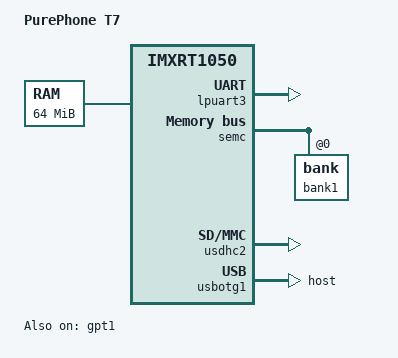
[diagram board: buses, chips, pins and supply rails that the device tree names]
// Copyright (c) 2017-2022, Mudita Sp. z.o.o. All rights reserved.
// For licensing, see https://github.com/mudita/MuditaOS/LICENSE.md

/dts-v1/;
#include "purephone-t7.dtsi"
#include "purephone-t7-u-boot.dtsi"
#include "imxrt1050-pinfunc.h"

/ {
	model = "PurePhone T7";
	compatible = "fsl,purephone-t7", "fsl,imxrt1050";

	chosen {
		bootargs = "root=/dev/ram";
		stdout-path = "serial0:115200n8";
		tick-timer = &gpt1;
	};

	memory {
		device_type = "memory";
		reg = <0x80000000 0x4000000>;
	};
};


&lpuart3 { /* console */
	pinctrl-names = "default";
	pinctrl-0 = <&pinctrl_lpuart3>;
	status = "okay";
};

&semc {
	fsl,sdram-mux = /bits/ 8 <MUX_A8_SDRAM_A8
				MUX_CSX0_SDRAM_CS1
				0
				0
				0
				0>;
	fsl,sdram-control = /bits/ 8 <MEM_WIDTH_16BITS
					BL_8
					COL_10BITS
					CL_3>;
	fsl,sdram-timing = /bits/ 8 <0x02 // PRE2ACT
				     0x02 //ACT2RW
				     0x0D //RFRC
				     0x02 //WRC
				     0x07 //CKEOFF
				     0x07 //ACT2PRE

				     0x0D //SRRC
				     0x0B //REF2REF
				     0x0A //ACT2ACT
				     0x0 //ITO

				     0x00 //REBL
				     0x08 //PRESCALE
                     0x09 //RT
                     0x09>; //UT

	bank1: bank@0 {
		fsl,base-address = <0x80000000>;
		fsl,memory-size = <MEM_SIZE_64M>;
	};
};

&iomuxc {
	pinctrl-names = "default";
	pinctrl-0 = <&pinctrl_lpuart3>;

	purephone-t7 {
		pinctrl_lpuart3: lpuart3grp {
			fsl,pins = <
				MXRT1050_IOMUXC_GPIO_AD_B1_06_LPUART3_TXD
					0xf1
				MXRT1050_IOMUXC_GPIO_AD_B1_07_LPUART3_RXD
					0xf1
			>;
		};

		pinctrl_semc: semcgrp {
			fsl,pins = <
				MXRT1050_IOMUXC_GPIO_EMC_00_SEMC_DA00
                    0x0110F9	/* SEMC_D0 */
				MXRT1050_IOMUXC_GPIO_EMC_01_SEMC_DA01
                    0x0110F9	/* SEMC_D1 */
				MXRT1050_IOMUXC_GPIO_EMC_02_SEMC_DA02
                    0x0110F9	/* SEMC_D2 */
				MXRT1050_IOMUXC_GPIO_EMC_03_SEMC_DA03
                    0x0110F9	/* SEMC_D3 */
				MXRT1050_IOMUXC_GPIO_EMC_04_SEMC_DA04
                    0x0110F9	/* SEMC_D4 */
				MXRT1050_IOMUXC_GPIO_EMC_05_SEMC_DA05
                    0x0110F9	/* SEMC_D5 */
				MXRT1050_IOMUXC_GPIO_EMC_06_SEMC_DA06
                    0x0110F9	/* SEMC_D6 */
				MXRT1050_IOMUXC_GPIO_EMC_07_SEMC_DA07
                    0x0110F9	/* SEMC_D7 */
				MXRT1050_IOMUXC_GPIO_EMC_08_SEMC_DM00
                    0x0110F9	/* SEMC_DM0 */
				MXRT1050_IOMUXC_GPIO_EMC_09_SEMC_ADDR00
                    0x0110F9	/* SEMC_A0 */
				MXRT1050_IOMUXC_GPIO_EMC_10_SEMC_ADDR01
                    0x0110F9	/* SEMC_A1 */
				MXRT1050_IOMUXC_GPIO_EMC_11_SEMC_ADDR02
                    0x0110F9	/* SEMC_A2 */
				MXRT1050_IOMUXC_GPIO_EMC_12_SEMC_ADDR03
                    0x0110F9	/* SEMC_A3 */
				MXRT1050_IOMUXC_GPIO_EMC_13_SEMC_ADDR04
                    0x0110F9	/* SEMC_A4 */
				MXRT1050_IOMUXC_GPIO_EMC_14_SEMC_ADDR05
                    0x0110F9	/* SEMC_A5 */
				MXRT1050_IOMUXC_GPIO_EMC_15_SEMC_ADDR06
                    0x0110F9	/* SEMC_A6 */
				MXRT1050_IOMUXC_GPIO_EMC_16_SEMC_ADDR07
                    0x0110F9	/* SEMC_A7 */
				MXRT1050_IOMUXC_GPIO_EMC_17_SEMC_ADDR08
                    0x0110F9	/* SEMC_A8 */
				MXRT1050_IOMUXC_GPIO_EMC_18_SEMC_ADDR09
                    0x0110F9	/* SEMC_A9 */
				MXRT1050_IOMUXC_GPIO_EMC_19_SEMC_ADDR11
                    0x0110F9	/* SEMC_A11 */
				MXRT1050_IOMUXC_GPIO_EMC_20_SEMC_ADDR12
                    0x0110F9	/* SEMC_A12 */
				MXRT1050_IOMUXC_GPIO_EMC_21_SEMC_BA0
                    0x0110F9	/* SEMC_BA0 */
				MXRT1050_IOMUXC_GPIO_EMC_22_SEMC_BA1
                    0x0110F9	/* SEMC_BA1 */
				MXRT1050_IOMUXC_GPIO_EMC_23_SEMC_ADDR10
                    0x0110F9	/* SEMC_A10 */
				MXRT1050_IOMUXC_GPIO_EMC_24_SEMC_CAS
                    0x0110F9	/* SEMC_CAS */
				MXRT1050_IOMUXC_GPIO_EMC_25_SEMC_RAS
                    0x0110F9	/* SEMC_RAS */
				MXRT1050_IOMUXC_GPIO_EMC_26_SEMC_CLK
                    0x0110F9	/* SEMC_CLK */
				MXRT1050_IOMUXC_GPIO_EMC_27_SEMC_CKE
                    0x0110F9	/* SEMC_CKE */
				MXRT1050_IOMUXC_GPIO_EMC_28_SEMC_WE
                    0x0110F9	/* SEMC_WE */
				MXRT1050_IOMUXC_GPIO_EMC_29_SEMC_CS0
                    0x0110F9	/* SEMC_CS0 */
				MXRT1050_IOMUXC_GPIO_EMC_30_SEMC_DA08
                    0x0110F9	/* SEMC_D8 */
				MXRT1050_IOMUXC_GPIO_EMC_31_SEMC_DA09
                    0x0110F9	/* SEMC_D9 */
				MXRT1050_IOMUXC_GPIO_EMC_32_SEMC_DA10
                    0x0110F9	/* SEMC_D10 */
				MXRT1050_IOMUXC_GPIO_EMC_33_SEMC_DA11
                    0x0110F9	/* SEMC_D11 */
				MXRT1050_IOMUXC_GPIO_EMC_34_SEMC_DA12
                    0x0110F9	/* SEMC_D12 */
				MXRT1050_IOMUXC_GPIO_EMC_35_SEMC_DA13
                    0x0110F9	/* SEMC_D13 */
				MXRT1050_IOMUXC_GPIO_EMC_36_SEMC_DA14
                    0x0110F9	/* SEMC_D14 */
				MXRT1050_IOMUXC_GPIO_EMC_37_SEMC_DA15
                    0x0110F9	/* SEMC_D15 */
				MXRT1050_IOMUXC_GPIO_EMC_38_SEMC_DM01
                    0x0110F9	/* SEMC_DM1 */
				MXRT1050_IOMUXC_GPIO_EMC_39_SEMC_DQS
                    (0x0110F9 | IMX_PAD_SION)
                MXRT1050_IOMUXC_GPIO_EMC_40_SEMC_RDY
                    0x0110F9
                MXRT1050_IOMUXC_GPIO_EMC_41_SEMC_CSX0
                    0x0110F9	/* SEMC_CSX0 */
			>;
		};

        pinctrl_usdhc2: usdhc2grp {
        fsl,pins = <
            MXRT1050_IOMUXC_GPIO_SD_B1_05_USDHC2_CMD 0x017089
            MXRT1050_IOMUXC_GPIO_SD_B1_04_USDHC2_CLK 0x0100B9
            MXRT1050_IOMUXC_GPIO_SD_B1_11_USDHC2_DATA7 0x017089
            MXRT1050_IOMUXC_GPIO_SD_B1_10_USDHC2_DATA6 0x017089
            MXRT1050_IOMUXC_GPIO_SD_B1_09_USDHC2_DATA5 0x017089
            MXRT1050_IOMUXC_GPIO_SD_B1_08_USDHC2_DATA4 0x017089
            MXRT1050_IOMUXC_GPIO_SD_B1_00_USDHC2_DATA3 0x017089
            MXRT1050_IOMUXC_GPIO_SD_B1_01_USDHC2_DATA2 0x017089
            MXRT1050_IOMUXC_GPIO_SD_B1_02_USDHC2_DATA1 0x017089
            MXRT1050_IOMUXC_GPIO_SD_B1_03_USDHC2_DATA0 0x017089
        >;
        };

        pinctrl_usdhc2_100mhz: usdhc2grp100mhz {
        fsl,pins = <
            MXRT1050_IOMUXC_GPIO_SD_B1_05_USDHC2_CMD 0x0170B9
            MXRT1050_IOMUXC_GPIO_SD_B1_04_USDHC2_CLK 0x0100B9
            MXRT1050_IOMUXC_GPIO_SD_B1_11_USDHC2_DATA7 0x0170B9
            MXRT1050_IOMUXC_GPIO_SD_B1_10_USDHC2_DATA6 0x0170B9
            MXRT1050_IOMUXC_GPIO_SD_B1_09_USDHC2_DATA5 0x0170B9
            MXRT1050_IOMUXC_GPIO_SD_B1_08_USDHC2_DATA4 0x0170B9
            MXRT1050_IOMUXC_GPIO_SD_B1_00_USDHC2_DATA3 0x0170B9
            MXRT1050_IOMUXC_GPIO_SD_B1_01_USDHC2_DATA2 0x0170B9
            MXRT1050_IOMUXC_GPIO_SD_B1_02_USDHC2_DATA1 0x0170B9
            MXRT1050_IOMUXC_GPIO_SD_B1_03_USDHC2_DATA0 0x0170B9
        >;
        };

        pinctrl_usdhc2_200mhz: usdhc2grp200mhz {
        fsl,pins = <
            MXRT1050_IOMUXC_GPIO_SD_B1_05_USDHC2_CMD 0x0170C9
            MXRT1050_IOMUXC_GPIO_SD_B1_04_USDHC2_CLK 0x0100C9
            MXRT1050_IOMUXC_GPIO_SD_B1_11_USDHC2_DATA7 0x0170C9
            MXRT1050_IOMUXC_GPIO_SD_B1_10_USDHC2_DATA6 0x0170C9
            MXRT1050_IOMUXC_GPIO_SD_B1_09_USDHC2_DATA5 0x0170C9
            MXRT1050_IOMUXC_GPIO_SD_B1_08_USDHC2_DATA4 0x0170C9
            MXRT1050_IOMUXC_GPIO_SD_B1_00_USDHC2_DATA3 0x0170C9
            MXRT1050_IOMUXC_GPIO_SD_B1_01_USDHC2_DATA2 0x0170C9
            MXRT1050_IOMUXC_GPIO_SD_B1_02_USDHC2_DATA1 0x0170C9
            MXRT1050_IOMUXC_GPIO_SD_B1_03_USDHC2_DATA0 0x0170C9
        >;
        };
	};
};

&gpt1 {
	status = "okay";
};

&usdhc2 {
    pinctrl-names = "default";
    pinctrl-0 = <&pinctrl_usdhc2>;
    pinctrl-1 = <&pinctrl_usdhc2_100mhz>;
    pinctrl-2 = <&pinctrl_usdhc2_200mhz>;
    status = "okay";
};

&usbotg1 {
	dr_mode = "host";
	status = "okay";
};
